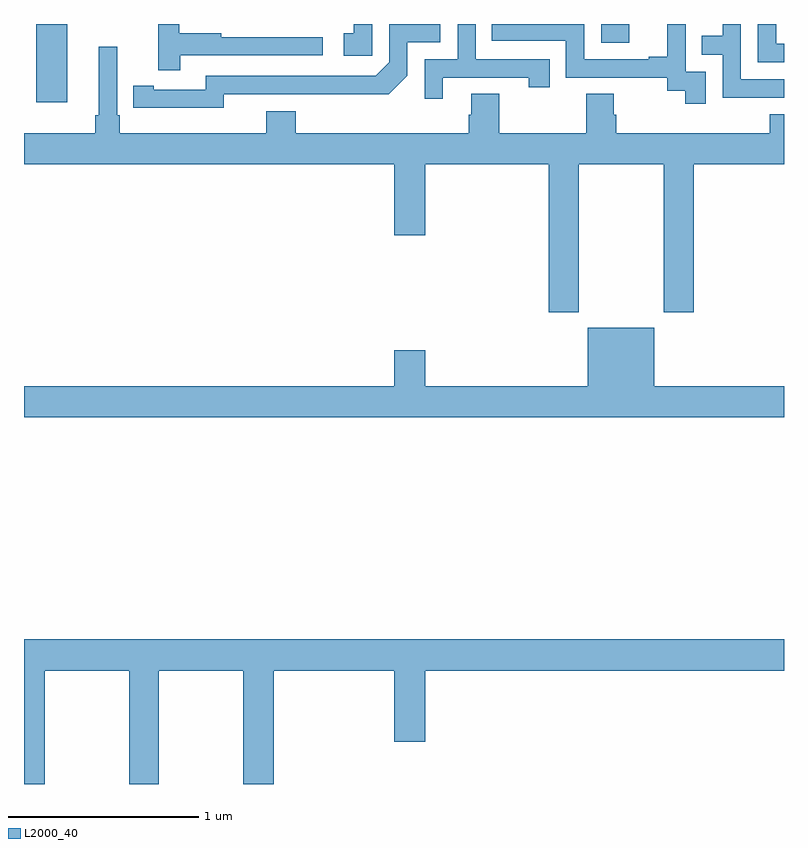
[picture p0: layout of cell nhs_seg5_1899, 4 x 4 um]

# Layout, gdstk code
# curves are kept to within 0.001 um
import gdstk
lib = gdstk.Library(unit=1e-6, precision=1e-09)
def R(c, l, rs):  # rectangles x0, y0, x1, y1
    for r in rs: c.add(gdstk.rectangle(r[:2], r[2:], *l))
def P(c, l, *ps):  # polygons
    for p in ps: c.add(gdstk.Polygon(p, *l))
L2000_40 = (2000, 40)

nhs_seg5_1899 = lib.new_cell('nhs_seg5_1899')
R(nhs_seg5_1899, L2000_40, [(223.064,890.388,223.228,890.799), (226.038,890.7,226.186,890.799)])
P(nhs_seg5_1899, L2000_40, [(227,890.694),(226.959,890.694),(226.959,890.799),(226.863,890.799),(226.863,890.598),(227,890.598)],
  [(225.205,890.517),(225.656,890.517),(225.656,890.466),(225.767,890.466),(225.767,890.613),(225.378,890.613),(225.378,890.799),(225.282,890.799),(225.282,890.613),(225.108,890.613),(225.108,890.406),(225.205,890.406)],
  [(226.587,890.547),(226.482,890.547),(226.482,890.777),(226.484,890.777),(226.484,890.799),(226.385,890.799),(226.385,890.626),(226.289,890.626),(226.289,890.613),(225.948,890.613),(225.948,890.799),(225.463,890.799),(225.463,890.712),(225.852,890.712),(225.852,890.517),(226.386,890.517),(226.386,890.449),(226.479,890.449),(226.479,890.379),(226.587,890.379)],
  [(227,890.508),(226.773,890.508),(226.773,890.799),(226.677,890.799),(226.677,890.738),(226.567,890.738),(226.567,890.637),(226.677,890.637),(226.677,890.412),(227,890.412)],
  [(224.832,890.799),(224.735,890.799),(224.735,890.751),(224.682,890.751),(224.682,890.631),(224.832,890.631)],
  [(223.823,890.634),(224.572,890.634),(224.572,890.73),(224.039,890.73),(224.039,890.75),(223.816,890.75),(223.816,890.799),(223.706,890.799),(223.706,890.556),(223.823,890.556)],
  [(224.052,890.43),(224.92,890.429),(225.018,890.526),(225.018,890.703),(225.192,890.703),(225.192,890.799),(224.922,890.799),(224.922,890.598),(224.85,890.526),(223.956,890.526),(223.956,890.454),(223.684,890.454),(223.684,890.474),(223.576,890.474),(223.576,890.358),(224.052,890.357)],
  [(225.921,890.06),(226.366,890.06),(226.366,889.281),(226.526,889.281),(226.526,890.06),(227,890.06),(227,890.323),(226.925,890.323),(226.925,890.224),(226.118,890.224),(226.118,890.322),(226.105,890.322),(226.105,890.432),(225.958,890.432),(225.958,890.224),(225.501,890.224),(225.501,890.432),(225.353,890.432),(225.353,890.322),(225.341,890.322),(225.341,890.224),(224.429,890.224),(224.429,890.341),(224.276,890.341),(224.276,890.224),(223.505,890.224),(223.505,890.32),(223.491,890.32),(223.491,890.68),(223.394,890.68),(223.394,890.32),(223.375,890.32),(223.375,890.224),(223,890.224),(223,890.06),(224.948,890.06),(224.948,889.686),(225.112,889.686),(225.112,890.06),(225.761,890.06),(225.761,889.281),(225.921,889.281)],
  [(227,888.892),(226.318,888.892),(226.318,889.201),(225.968,889.201),(225.968,888.892),(225.112,888.892),(225.112,889.081),(224.948,889.081),(224.948,888.892),(223,888.892),(223,888.728),(227,888.728)],
  [(223.11,887.396),(223.555,887.396),(223.555,886.799),(223.71,886.799),(223.71,887.396),(224.155,887.396),(224.155,886.799),(224.315,886.799),(224.315,887.396),(224.948,887.396),(224.948,887.022),(225.112,887.022),(225.112,887.396),(227,887.396),(227,887.56),(223,887.56),(223,886.799),(223.11,886.799)])

lib.write_gds('nhs_seg5_1899.gds')
